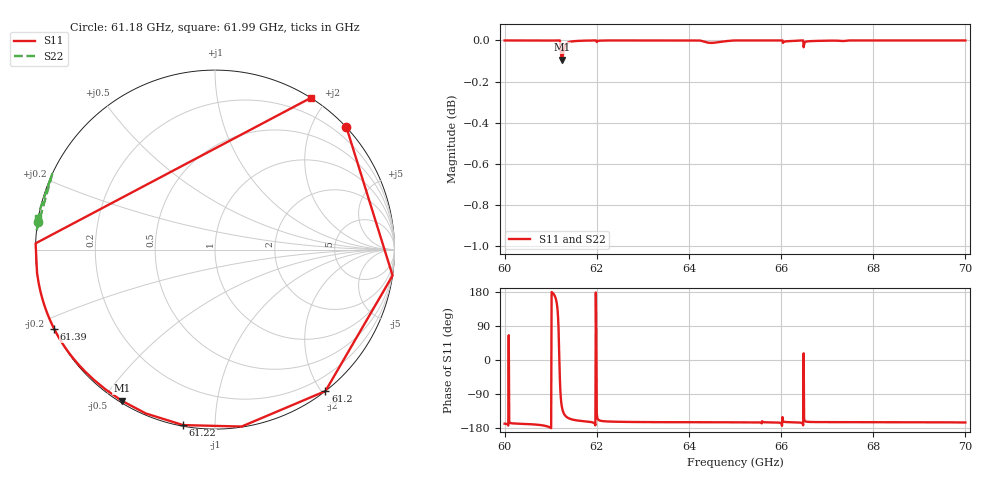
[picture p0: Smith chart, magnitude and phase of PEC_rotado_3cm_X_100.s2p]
! TOUCHSTONE file generated by CST MICROWAVE STUDIO
! Date and time: Sat Feb 17 19:24:18 2024
! Project name: metal_rotado.cst
! Parameters = {PX=1; angX=2; angY=2}
! Header version: 2018
! Port assignment regex: !\s*Touchstone port\s*([0-9]+)\s*=\s*(CST MWS port|CST DS port)\s*([0-9]+|Zmin|Zmax)\s*\(\"(.*)\"\)(\s*mode\s*([0-9]+))?.*
! Touchstone port assignment:
! Touchstone port 1 = CST MWS port 1 ("")
! Touchstone port 2 = CST MWS port 2 ("")
# GHz S MA R 376.7
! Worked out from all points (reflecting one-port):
!   1001 points, 60 GHz to 70 GHz, reference 376.7 ohm
!   lowest |S11| = -0.1 dB at 61.24 GHz (marker M1), VSWR 187.57, Z = 2.63 - j210 ohm
!   phase of S11 starts at -168 deg and turns -717 deg over the sweep
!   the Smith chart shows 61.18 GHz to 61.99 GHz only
!   S11 on the Smith chart (normalised r, x): 61.18 GHz: 0.00, +2.54; 61.2 GHz: -0.00, -2.05; 61.22 GHz: 0.01, -0.83; 61.39 GHz: 0.00, -0.23; 61.99 GHz: 0.00, +1.81
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60  1 -168.1  0 0.0  0 0.0  1 163.9
60.33  1 -168.2  1.304e-65 180.0  1.304e-65 180.0  1 150.4
60.39  1 -168.5  1.303e-65 180.0  1.303e-65 180.0  0.9999 131.8
60.43  1 -168.7  1.301e-65 179.9  1.301e-65 179.9  0.9999 68.7
60.5  1 -169.1  1.304e-65 -179.9  1.304e-65 -179.9  1 -154.1
60.53  1 -169.2  1.304e-65 -180.0  1.304e-65 -180.0  1 -166.9
60.64  1 -170.0  1.204e-65 -180.0  1.204e-65 -180.0  1 179.3
61.07  0.9999 173.0  1.103e-65 180.0  1.103e-65 180.0  0.9999 171.7
61.13  1 151.4  0 0.0  0 0.0  1 171.4
61.18  1 42.9  9.004e-66 179.9  9.004e-66 179.9  1 171.2
61.2  1 -52.0  0 0.0  0 180.0  1 171.1
61.22  0.9937 -100.3  9.017e-66 -179.9  9.017e-66 -179.9  1 171.0
61.24  0.9894 -121.6  9.022e-66 -179.9  9.022e-66 -179.9  1 170.9
61.29  0.9953 -142.2  9.025e-66 -180.0  9.025e-66 -180.0  1 170.7
61.39  0.999 -153.7  9.027e-66 -180.0  9.027e-66 -180.0  1 170.4
61.67  0.9998 -161.0  8.025e-66 -180.0  8.025e-66 -180.0  1 169.7
61.99  1 57.7  0 0.0  0 0.0  1 169.8
63.34  1 -164.1  2.006e-66 -180.0  2.006e-66 -180.0  1 168.5
65  1 -164.4  0 0.0  0 0.0  1 167.7
66.67  0.9997 -163.7  9.028e-66 0.0  9.028e-66 0.0  1 167.3
68.34  1 -164.2  1.304e-65 0.0  1.304e-65 0.0  0.9999 166.3
70  1 -164.9  0 0.0  0 0.0  1 163.5
